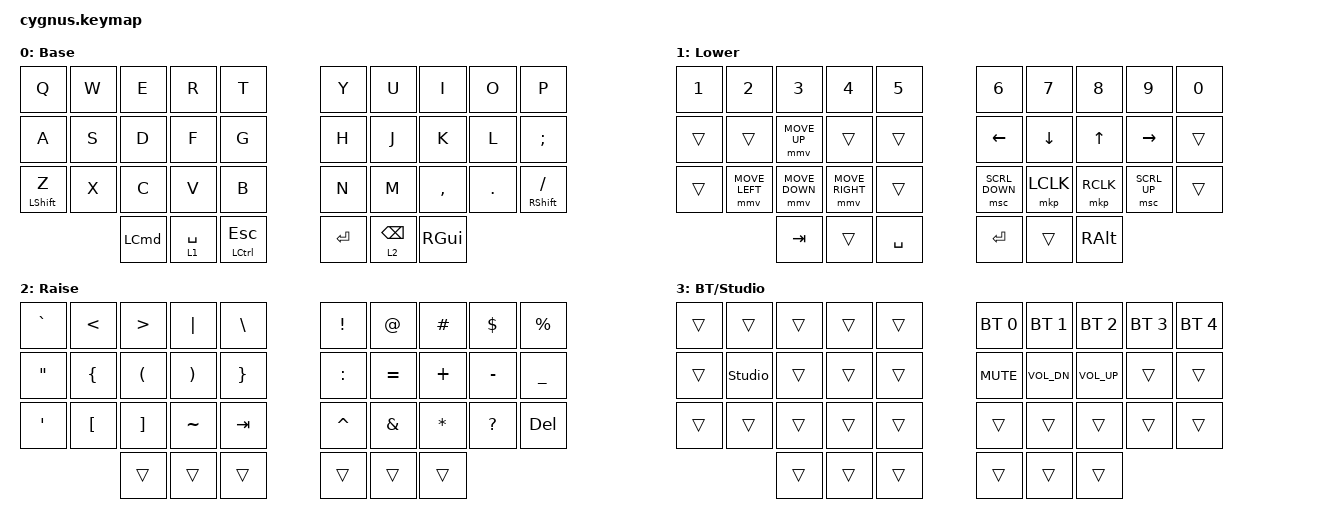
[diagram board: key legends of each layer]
/*
 * Copyright (c) 2020 The ZMK Contributors
 *
 * SPDX-License-Identifier: MIT
 */

#include <behaviors.dtsi>
#include <dt-bindings/zmk/bt.h>
#include <dt-bindings/zmk/keys.h>
#include <dt-bindings/zmk/pointing.h>

/ {
    behaviors {
        hm: home_row_mod {
            compatible = "zmk,behavior-hold-tap";
            #binding-cells = <2>;
            flavor = "balanced";
            tapping-term-ms = <200>;
            quick-tap-ms = <150>;
            require-prior-idle-ms = <125>;
            bindings = <&kp>, <&kp>;
        };
    };

    keymap {
        compatible = "zmk,keymap";

        default_layer {
            display-name = "Base";
            bindings = <
&kp Q  &kp W  &kp E     &kp R        &kp T          &kp Y      &kp U            &kp I      &kp O    &kp P
&kp A  &kp S  &kp D     &kp F        &kp G          &kp H      &kp J            &kp K      &kp L    &kp SEMI
&hm LSHFT Z  &kp X  &kp C     &kp V        &kp B          &kp N      &kp M            &kp COMMA  &kp DOT  &hm RSHFT FSLH
              &kp LCMD  &lt 1 SPACE  &mt LCTRL ESC  &kp ENTER  &lt 2 BACKSPACE  &kp RGUI
            >;
        };

        lower_layer {
            display-name = "Lower";
            bindings = <
&kp N1  &kp N2          &kp N3          &kp N4           &kp N5     &kp N6          &kp N7     &kp N8     &kp N9        &kp N0
&trans  &trans          &mmv MOVE_UP    &trans           &trans     &kp LEFT        &kp DOWN   &kp UP     &kp RIGHT     &trans
&trans  &mmv MOVE_LEFT  &mmv MOVE_DOWN  &mmv MOVE_RIGHT  &trans     &msc SCRL_DOWN  &mkp LCLK  &mkp RCLK  &msc SCRL_UP  &trans
                        &kp TAB         &trans           &kp SPACE  &kp RET         &trans     &kp RALT
            >;
        };

        raise_layer {
            display-name = "Raise";
            bindings = <
&kp GRAVE  &kp LT    &kp GT    &kp PIPE   &kp BSLH  &kp EXCL   &kp AT     &kp HASH  &kp DLLR   &kp PRCNT
&kp DQT    &kp LBRC  &kp LPAR  &kp RPAR   &kp RBRC  &kp COLON  &kp EQUAL  &kp PLUS  &kp MINUS  &kp UNDER
&kp SQT    &kp LBKT  &kp RBKT  &kp TILDE  &kp TAB   &kp CARET  &kp AMPS   &kp STAR  &kp QMARK  &kp DEL
                     &trans    &trans     &trans    &trans     &trans     &trans
            >;
        };

        // Hold Lower + Raise together (middle thumb key on each half).
        // Tap S on this layer to unlock ZMK Studio.

        bt_layer {
            display-name = "BT/Studio";
            bindings = <
&trans  &trans          &trans  &trans  &trans  &bt BT_SEL 0  &bt BT_SEL 1  &bt BT_SEL 2  &bt BT_SEL 3  &bt BT_SEL 4
&trans  &studio_unlock  &trans  &trans  &trans  &kp C_MUTE    &kp C_VOL_DN  &kp C_VOL_UP  &trans        &trans
&trans  &trans          &trans  &trans  &trans  &trans        &trans        &trans        &trans        &trans
                        &trans  &trans  &trans  &trans        &trans        &trans
            >;
        };
    };

    conditional_layers {
        compatible = "zmk,conditional-layers";

        tri_layer {
            if-layers = <1 2>;
            then-layer = <3>;
        };
    };
};
